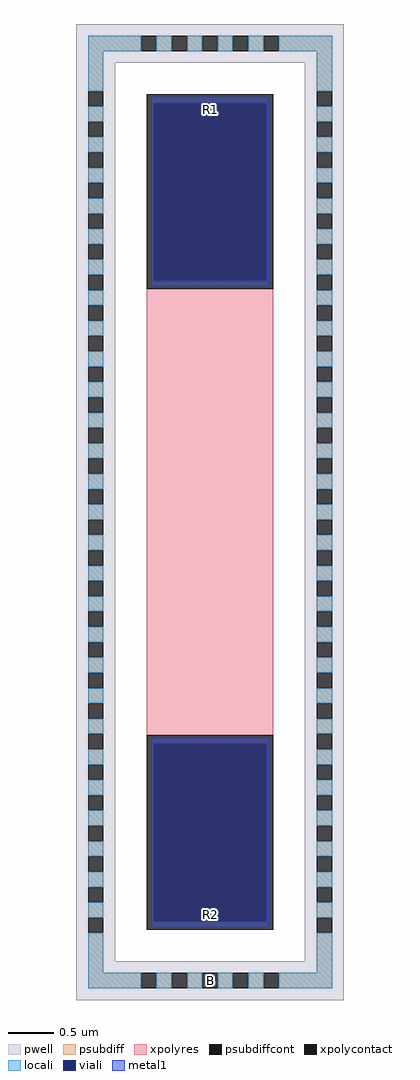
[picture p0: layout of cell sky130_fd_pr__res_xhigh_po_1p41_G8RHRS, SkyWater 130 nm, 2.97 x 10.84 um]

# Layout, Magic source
magic
tech sky130A
magscale 1 2
<< pwell >>
rect -297 998 297 1084
rect -297 -998 -211 998
rect 211 -998 297 998
rect -297 -1084 297 -998
<< psubdiff >>
rect -271 1024 -153 1058
rect -119 1024 -85 1058
rect -51 1024 -17 1058
rect 17 1024 51 1058
rect 85 1024 119 1058
rect 153 1024 271 1058
rect -271 935 -237 1024
rect 237 935 271 1024
rect -271 867 -237 901
rect -271 799 -237 833
rect -271 731 -237 765
rect -271 663 -237 697
rect -271 595 -237 629
rect -271 527 -237 561
rect -271 459 -237 493
rect -271 391 -237 425
rect -271 323 -237 357
rect -271 255 -237 289
rect -271 187 -237 221
rect -271 119 -237 153
rect -271 51 -237 85
rect -271 -17 -237 17
rect -271 -85 -237 -51
rect -271 -153 -237 -119
rect -271 -221 -237 -187
rect -271 -289 -237 -255
rect -271 -357 -237 -323
rect -271 -425 -237 -391
rect -271 -493 -237 -459
rect -271 -561 -237 -527
rect -271 -629 -237 -595
rect -271 -697 -237 -663
rect -271 -765 -237 -731
rect -271 -833 -237 -799
rect -271 -901 -237 -867
rect 237 867 271 901
rect 237 799 271 833
rect 237 731 271 765
rect 237 663 271 697
rect 237 595 271 629
rect 237 527 271 561
rect 237 459 271 493
rect 237 391 271 425
rect 237 323 271 357
rect 237 255 271 289
rect 237 187 271 221
rect 237 119 271 153
rect 237 51 271 85
rect 237 -17 271 17
rect 237 -85 271 -51
rect 237 -153 271 -119
rect 237 -221 271 -187
rect 237 -289 271 -255
rect 237 -357 271 -323
rect 237 -425 271 -391
rect 237 -493 271 -459
rect 237 -561 271 -527
rect 237 -629 271 -595
rect 237 -697 271 -663
rect 237 -765 271 -731
rect 237 -833 271 -799
rect 237 -901 271 -867
rect -271 -1024 -237 -935
rect 237 -1024 271 -935
rect -271 -1058 -153 -1024
rect -119 -1058 -85 -1024
rect -51 -1058 -17 -1024
rect 17 -1058 51 -1024
rect 85 -1058 119 -1024
rect 153 -1058 271 -1024
<< psubdiffcont >>
rect -153 1024 -119 1058
rect -85 1024 -51 1058
rect -17 1024 17 1058
rect 51 1024 85 1058
rect 119 1024 153 1058
rect -271 901 -237 935
rect -271 833 -237 867
rect -271 765 -237 799
rect -271 697 -237 731
rect -271 629 -237 663
rect -271 561 -237 595
rect -271 493 -237 527
rect -271 425 -237 459
rect -271 357 -237 391
rect -271 289 -237 323
rect -271 221 -237 255
rect -271 153 -237 187
rect -271 85 -237 119
rect -271 17 -237 51
rect -271 -51 -237 -17
rect -271 -119 -237 -85
rect -271 -187 -237 -153
rect -271 -255 -237 -221
rect -271 -323 -237 -289
rect -271 -391 -237 -357
rect -271 -459 -237 -425
rect -271 -527 -237 -493
rect -271 -595 -237 -561
rect -271 -663 -237 -629
rect -271 -731 -237 -697
rect -271 -799 -237 -765
rect -271 -867 -237 -833
rect -271 -935 -237 -901
rect 237 901 271 935
rect 237 833 271 867
rect 237 765 271 799
rect 237 697 271 731
rect 237 629 271 663
rect 237 561 271 595
rect 237 493 271 527
rect 237 425 271 459
rect 237 357 271 391
rect 237 289 271 323
rect 237 221 271 255
rect 237 153 271 187
rect 237 85 271 119
rect 237 17 271 51
rect 237 -51 271 -17
rect 237 -119 271 -85
rect 237 -187 271 -153
rect 237 -255 271 -221
rect 237 -323 271 -289
rect 237 -391 271 -357
rect 237 -459 271 -425
rect 237 -527 271 -493
rect 237 -595 271 -561
rect 237 -663 271 -629
rect 237 -731 271 -697
rect 237 -799 271 -765
rect 237 -867 271 -833
rect 237 -935 271 -901
rect -153 -1058 -119 -1024
rect -85 -1058 -51 -1024
rect -17 -1058 17 -1024
rect 51 -1058 85 -1024
rect 119 -1058 153 -1024
<< xpolycontact >>
rect -141 496 141 928
rect -141 -928 141 -496
<< xpolyres >>
rect -141 -496 141 496
<< locali >>
rect -271 1024 -153 1058
rect -119 1024 -85 1058
rect -51 1024 -17 1058
rect 17 1024 51 1058
rect 85 1024 119 1058
rect 153 1024 271 1058
rect -271 935 -237 1024
rect 237 935 271 1024
rect -271 867 -237 901
rect -271 799 -237 833
rect -271 731 -237 765
rect -271 663 -237 697
rect -271 595 -237 629
rect -271 527 -237 561
rect 237 867 271 901
rect 237 799 271 833
rect 237 731 271 765
rect 237 663 271 697
rect 237 595 271 629
rect 237 527 271 561
rect -271 459 -237 493
rect -271 391 -237 425
rect -271 323 -237 357
rect -271 255 -237 289
rect -271 187 -237 221
rect -271 119 -237 153
rect -271 51 -237 85
rect -271 -17 -237 17
rect -271 -85 -237 -51
rect -271 -153 -237 -119
rect -271 -221 -237 -187
rect -271 -289 -237 -255
rect -271 -357 -237 -323
rect -271 -425 -237 -391
rect -271 -493 -237 -459
rect 237 459 271 493
rect 237 391 271 425
rect 237 323 271 357
rect 237 255 271 289
rect 237 187 271 221
rect 237 119 271 153
rect 237 51 271 85
rect 237 -17 271 17
rect 237 -85 271 -51
rect 237 -153 271 -119
rect 237 -221 271 -187
rect 237 -289 271 -255
rect 237 -357 271 -323
rect 237 -425 271 -391
rect 237 -493 271 -459
rect -271 -561 -237 -527
rect -271 -629 -237 -595
rect -271 -697 -237 -663
rect -271 -765 -237 -731
rect -271 -833 -237 -799
rect -271 -901 -237 -867
rect 237 -561 271 -527
rect 237 -629 271 -595
rect 237 -697 271 -663
rect 237 -765 271 -731
rect 237 -833 271 -799
rect 237 -901 271 -867
rect -271 -1024 -237 -935
rect 237 -1024 271 -935
rect -271 -1058 -153 -1024
rect -119 -1058 -85 -1024
rect -51 -1058 -17 -1024
rect 17 -1058 51 -1024
rect 85 -1058 119 -1024
rect 153 -1058 271 -1024
<< viali >>
rect -125 514 125 908
rect -125 -909 125 -515
<< metal1 >>
rect -131 908 131 922
rect -131 514 -125 908
rect 125 514 131 908
rect -131 501 131 514
rect -131 -515 131 -501
rect -131 -909 -125 -515
rect 125 -909 131 -515
rect -131 -922 131 -909
<< labels >>
rlabel locali s 0 -1041 0 -1041 4 B
rlabel locali s 0 893 0 893 4 R1
rlabel locali s 0 -893 0 -893 4 R2
<< properties >>
string FIXED_BBOX -254 -1041 254 1041
<< end >>
